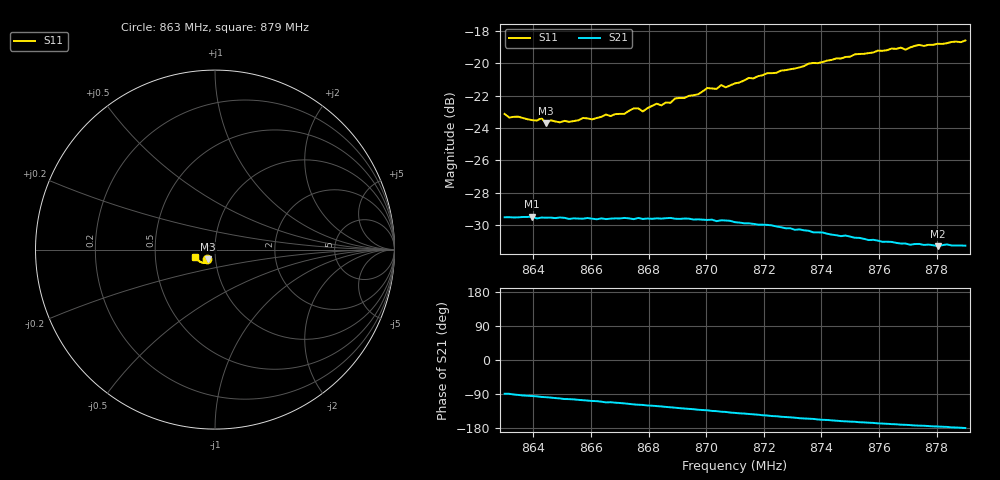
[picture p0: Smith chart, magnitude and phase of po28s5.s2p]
# HZ S RI R 50
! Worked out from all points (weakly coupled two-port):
!   101 points, 863 MHz to 879 MHz, reference 50 ohm
!   highest |S21| = -29.46 dB at 863.96 MHz (marker M1); lowest = -31.3 dB at 878.04 MHz (marker M2)
!   lowest |S11| = -23.7 dB at 864.44 MHz (marker M3), VSWR 1.14, Z = 46.1 - j4.94 ohm
!   |S11| at or under -10 dB: start of sweep to end of sweep
!   S12 and S22 are empty: the file has one direction only
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8.63e8  -0.045 -0.0533  0.00052 -0.0335  0 0  0 0
8.6316e8  -0.0429 -0.0528  0.000453 -0.0335  0 0  0 0
8.6396e8  -0.0406 -0.053  -0.003 -0.0335  0 0  0 0
8.6428e8  -0.0387 -0.0556  -0.00431 -0.0331  0 0  0 0
8.6444e8  -0.0376 -0.0533  -0.00476 -0.033  0 0  0 0
8.646e8  -0.0387 -0.0543  -0.00532 -0.033  0 0  0 0
8.6524e8  -0.0378 -0.054  -0.00757 -0.0322  0 0  0 0
8.6572e8  -0.0359 -0.0575  -0.0092 -0.0318  0 0  0 0
8.6716e8  -0.0349 -0.0605  -0.0138 -0.0303  0 0  0 0
8.6748e8  -0.0356 -0.0632  -0.0151 -0.0294  0 0  0 0
8.678e8  -0.0353 -0.0616  -0.0158 -0.029  0 0  0 0
8.6828e8  -0.0368 -0.0654  -0.0174 -0.0283  0 0  0 0
8.6844e8  -0.0368 -0.0644  -0.0178 -0.0279  0 0  0 0
8.6892e8  -0.0384 -0.0678  -0.0194 -0.0269  0 0  0 0
8.6972e8  -0.0408 -0.0691  -0.0217 -0.0248  0 0  0 0
8.7004e8  -0.0437 -0.0716  -0.0223 -0.0241  0 0  0 0
8.71e8  -0.048 -0.0722  -0.0246 -0.021  0 0  0 0
8.7372e8  -0.0673 -0.0742  -0.0274 -0.0125  0 0  0 0
8.7644e8  -0.0923 -0.0618  -0.0276 -0.00527  0 0  0 0
8.7692e8  -0.0939 -0.0575  -0.0274 -0.00433  0 0  0 0
8.7804e8  -0.1038 -0.0493  -0.0272 -0.00213  0 0  0 0
8.79e8  -0.1107 -0.0397  -0.0274 -0.000225  0 0  0 0
